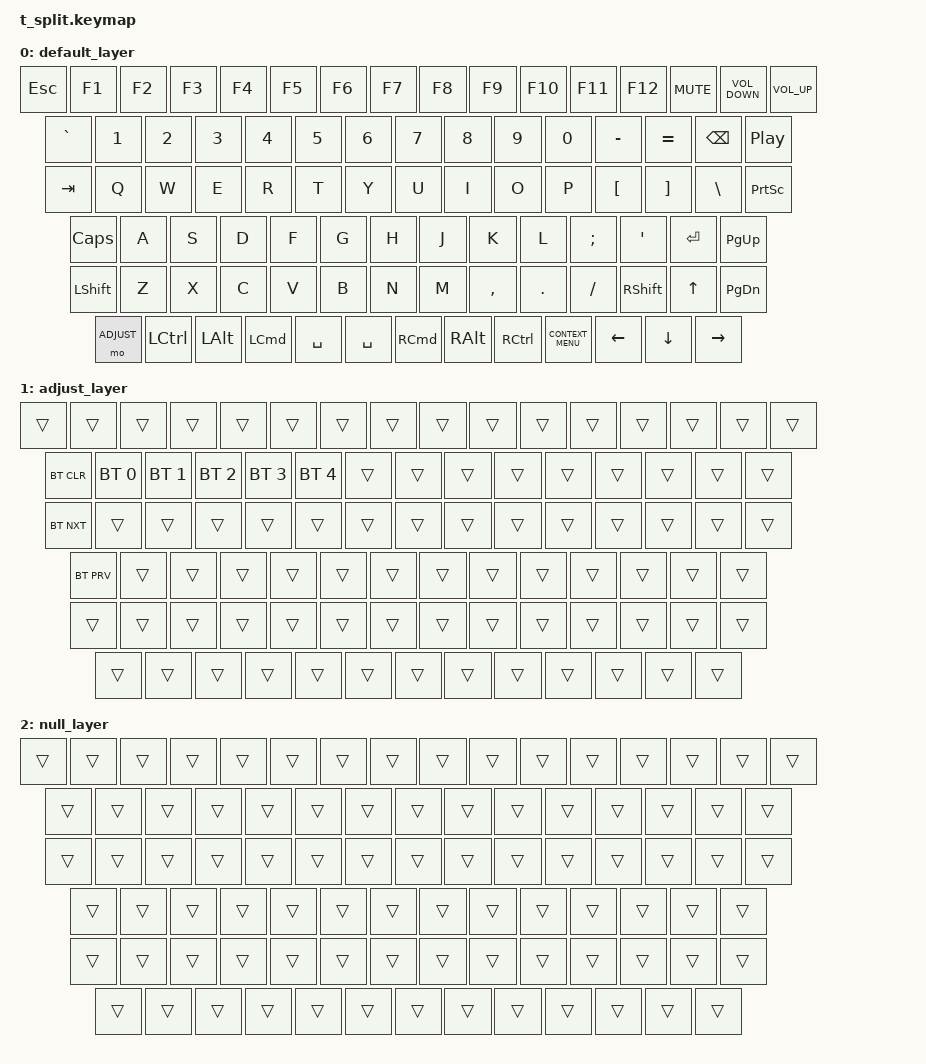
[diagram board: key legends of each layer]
                                                 /*
 * Copyright (c) 2020 The ZMK Contributors
 *
 * SPDX-License-Identifier: MIT
 */

 #include <behaviors.dtsi>
 #include <dt-bindings/zmk/keys.h>
 #include <dt-bindings/zmk/bt.h>
 #include <dt-bindings/zmk/rgb.h>
 #include <dt-bindings/zmk/ext_power.h>
 #include <dt-bindings/zmk/outputs.h>

 #define DEFAULT 0
// #define LOWER  1
// #define RAISE  2
 #define ADJUST 1

/* NOTE: At the time of the creation of this keymap, there are no specified codes for 'eisuu' and 'kana' input in ZMK.
However, 'LANG1' and 'LANG2' are fully-functioning candidates for 'kana' and 'eisuu' input respectively.
As such, those are in use within the default layer at this time.*/

/ {
       keymap {
              compatible = "zmk,keymap";

              default_layer {
 // ---------------------------------------------------------------------------------------------------------------------------------
 // |   ESC  |  F1    |   F2   |   F3   |   F4   |   F5   |---------|  F6    |  F7    |   F8   |   F9   |   F10  |   F11  |   F12  |   MUTE  |  VL_DN | VL_UP |
 // |   `    |   1    |    2   |    3   |    4   |    5   |---------|   6    |   7    |    8   |    9   |     0  |     -  |     =  |     BACKSPACE   | PAUSE   |
 // |   TAB      |  Q     |   W    |   E    |   R    |   T    |---------|   Y    |   U    |    I   |    O   |     P  |     [  |     ]  |     "|"     | PNT_SCRN |
 // |   CAPS       |  A     |   S    |   D    |   F    |   G    |----------|   H    |   J    |    K   |    L   |     ;  |     '  |       ENTER       | PAGE_U |
 // |   SHIFT          |  Z     |   X    |   C    |   V    |-----------|   B    |   N    |    M   |    ,   |     .  |     /  |     SHIFT    |   UP   | PAGE_D |
 // |   FN   |  CTRL    |   OPT    |   CMD    |      SPACE    |------------|      SPACE      |    CMD    |    OPT    |  CTRL  |   SUPER    |  LEFT  |  DOWN  | RIGHT  |
                         bindings = <
       &kp ESC  &kp F1  &kp F2   &kp F3   &kp F4    &kp F5                               &kp F6    &kp F7    &kp F8    &kp F9     &kp F10    &kp F11    &kp F12    &kp C_MUTE     &kp C_VOLUME_DOWN    &kp C_VOLUME_UP 
       &kp GRAVE  &kp N1  &kp N2   &kp N3   &kp N4    &kp N5                               &kp N6    &kp N7    &kp N8    &kp N9     &kp N0    &kp MINUS    &kp EQUAL    &kp BSPC    &kp C_PLAY_PAUSE  
       &kp TAB    &kp Q   &kp W    &kp E    &kp R     &kp T                                &kp Y     &kp U     &kp I     &kp O      &kp P     &kp LBKT &kp RBKT &kp BACKSLASH &kp PRINTSCREEN
       &kp CAPSLOCK   &kp A   &kp S    &kp D    &kp F     &kp G                                &kp H     &kp J     &kp K     &kp L      &kp SEMI  &kp SQT &kp RET &kp PG_UP
       &kp LSHFT  &kp Z   &kp X    &kp C    &kp V                                          &kp B   &kp N   &kp M   &kp COMMA &kp DOT  &kp FSLH &kp RSHFT &kp UP &kp PG_DN
       &mo ADJUST  &kp LCTRL  &kp LALT  &kp LEFT_COMMAND   &kp SPACE                                   &kp SPACE   &kp RIGHT_COMMAND   &kp RALT   &kp RCTRL   &kp K_CONTEXT_MENU   &kp LEFT   &kp DOWN   &kp RIGHT  
                     >;
              };
                  adjust_layer {
 // ---------------------------------------------------------------------------------------------------------------------------------
 // |        |        |        |        |        |        |---------|        |        |        |        |        |        |        |        |        |        |
 // | BT CLR |BT SEL0 |BT SEL1 |BT SEL2 |BT SEL3 |BT SEL4 |---------|        |        |        |        |        |        |        |                 |        |
 // | BT NXT     |        |        |        |        |        |---------|        |        |        |        |        |        |        |             |        |
 // | BT PRV       |        |        |        |        |        |----------|        |        |        |        |        |        |                   |        |
 // |                  |        |        |        |        |-----------|        |        |        |        |        |        |              |        |        |
 // |        |          |          |          |               |------------|                 |        |        |        |          |        |        |        |
                         bindings = <
       &trans  &trans  &trans   &trans   &trans    &trans                               &trans    &trans    &trans    &trans     &trans    &trans    &trans    &trans    &trans    &trans 
       &bt BT_CLR  &bt BT_SEL 0  &bt BT_SEL 1   &bt BT_SEL 2   &bt BT_SEL 3    &bt BT_SEL 4                               &trans    &trans    &trans    &trans     &trans    &trans    &trans    &trans    &trans   
       &bt BT_NXT    &trans   &trans    &trans    &trans     &trans                                &trans     &trans     &trans     &trans      &trans     &trans &trans &trans &trans
       &bt BT_PRV   &trans   &trans    &trans    &trans     &trans                                &trans     &trans     &trans     &trans      &trans  &trans &trans &trans
       &trans  &trans   &trans    &trans    &trans                                          &trans   &trans   &trans   &trans &trans  &trans &trans &trans &trans
       &trans  &trans  &trans  &trans   &trans                                            &trans   &trans   &trans   &trans   &trans   &trans   &trans   &trans 
                     >;
              };
                null_layer {
 // ---------------------------------------------------------------------------------------------------------------------------------
 // |        |        |        |        |        |        |---------|        |        |        |        |        |        |        |        |        |        |
 // |        |        |        |        |        |        |---------|        |        |        |        |        |        |        |                 |        |
 // |            |        |        |        |        |        |---------|        |        |        |        |        |        |        |             |        |
 // |              |        |        |        |        |        |----------|        |        |        |        |        |        |                   |        |
 // |                  |        |        |        |        |-----------|        |        |        |        |        |        |              |        |        |
 // |        |          |          |          |               |------------|                 |        |        |        |          |        |        |        |
                         bindings = <
       &trans  &trans  &trans   &trans   &trans    &trans                               &trans    &trans    &trans    &trans     &trans    &trans    &trans    &trans    &trans    &trans 
       &trans  &trans  &trans   &trans   &trans    &trans                               &trans    &trans    &trans    &trans     &trans    &trans    &trans    &trans    &trans   
       &trans    &trans   &trans    &trans    &trans     &trans                                &trans     &trans     &trans     &trans      &trans     &trans &trans &trans &trans
       &trans   &trans   &trans    &trans    &trans     &trans                                &trans     &trans     &trans     &trans      &trans  &trans &trans &trans
       &trans  &trans   &trans    &trans    &trans                                          &trans   &trans   &trans   &trans &trans  &trans &trans &trans &trans
       &trans  &trans  &trans  &trans   &trans                                            &trans   &trans   &trans   &trans   &trans   &trans   &trans   &trans 
                     >;
              };
       };
};
